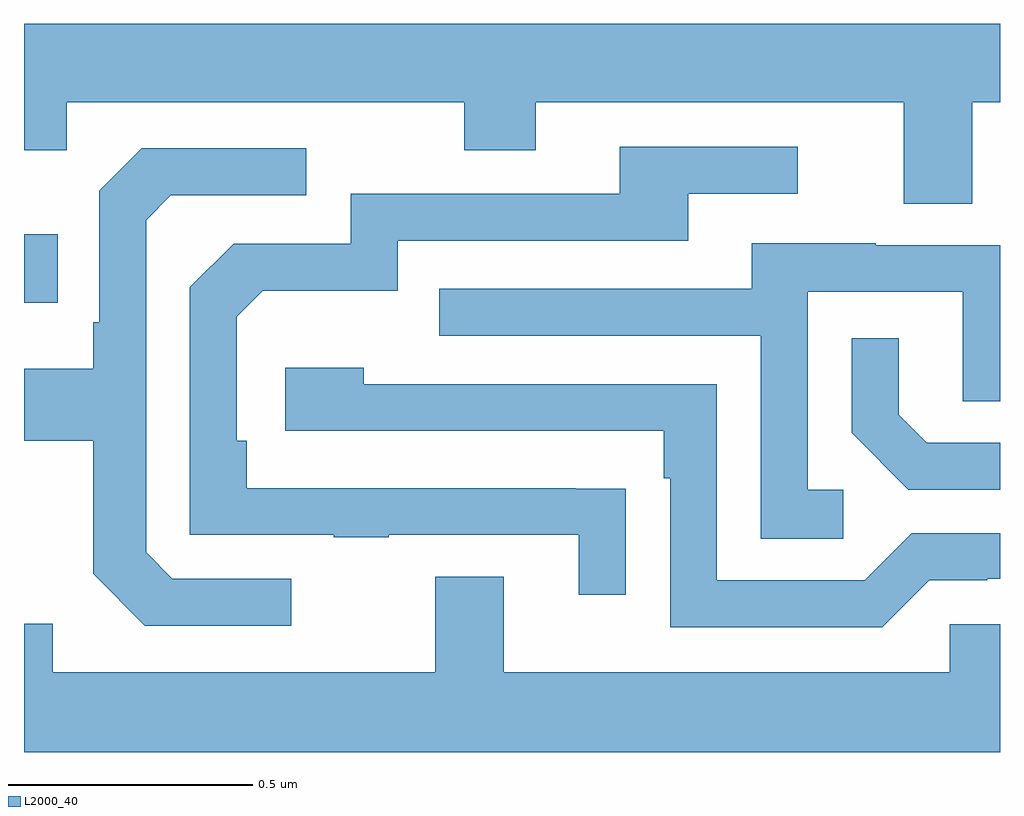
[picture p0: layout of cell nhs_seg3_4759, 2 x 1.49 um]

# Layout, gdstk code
import gdstk
lib = gdstk.Library(unit=1e-6, precision=1e-09)
def R(c, l, rs):  # rectangles x0, y0, x1, y1
    for r in rs: c.add(gdstk.rectangle(r[:2], r[2:], *l))
def P(c, l, *ps):  # polygons
    for p in ps: c.add(gdstk.Polygon(p, *l))
L2000_40 = (2000, 40)

nhs_seg3_4759 = lib.new_cell('nhs_seg3_4759')
R(nhs_seg3_4759, L2000_40, [(170,709.829,170.069,709.969)])
P(nhs_seg3_4759, L2000_40, [(171.943,710.24),(172,710.24),(172,710.4),(170,710.4),(170,710.141),(170.088,710.141),(170.088,710.24),(170.902,710.24),(170.902,710.141),(171.049,710.141),(171.049,710.24),(171.803,710.24),(171.803,710.032),(171.943,710.032)],
  [(171.233,709.448),(171.131,709.448),(171.131,709.449),(170.456,709.449),(170.456,709.546),(170.436,709.546),(170.436,709.8),(170.489,709.853),(170.766,709.853),(170.766,709.956),(171.361,709.956),(171.361,710.052),(171.586,710.052),(171.586,710.148),(171.221,710.148),(171.221,710.052),(170.67,710.052),(170.67,709.95),(170.43,709.95),(170.34,709.86),(170.34,709.353),(170.635,709.353),(170.635,709.348),(170.747,709.348),(170.747,709.353),(171.137,709.353),(171.137,709.23),(171.233,709.23)],
  [(170.548,709.263),(170.304,709.263),(170.25,709.317),(170.25,709.998),(170.301,710.049),(170.578,710.049),(170.578,710.145),(170.241,710.145),(170.154,710.058),(170.154,709.789),(170.142,709.789),(170.142,709.693),(170,709.693),(170,709.546),(170.142,709.546),(170.142,709.273),(170.247,709.167),(170.548,709.167)],
  [(171.679,709.446),(171.606,709.446),(171.606,709.851),(171.924,709.851),(171.924,709.627),(172,709.627),(172,709.947),(171.745,709.947),(171.745,709.951),(171.491,709.951),(171.491,709.857),(170.851,709.857),(170.851,709.761),(171.51,709.761),(171.51,709.345),(171.679,709.345)],
  [(172,709.542),(171.85,709.542),(171.793,709.599),(171.793,709.756),(171.696,709.756),(171.696,709.562),(171.812,709.446),(172,709.446)],
  [(171.855,709.26),(171.974,709.26),(171.974,709.263),(172,709.263),(172,709.356),(171.819,709.356),(171.723,709.26),(171.42,709.26),(171.42,709.662),(170.696,709.662),(170.696,709.696),(170.535,709.696),(170.535,709.566),(171.311,709.566),(171.311,709.469),(171.324,709.469),(171.324,709.164),(171.759,709.164)],
  [(172,709.17),(171.897,709.17),(171.897,709.072),(170.983,709.072),(170.983,709.267),(170.843,709.267),(170.843,709.072),(170.059,709.072),(170.059,709.171),(170,709.171),(170,708.908),(172,708.908)])

lib.write_gds('nhs_seg3_4759.gds')
